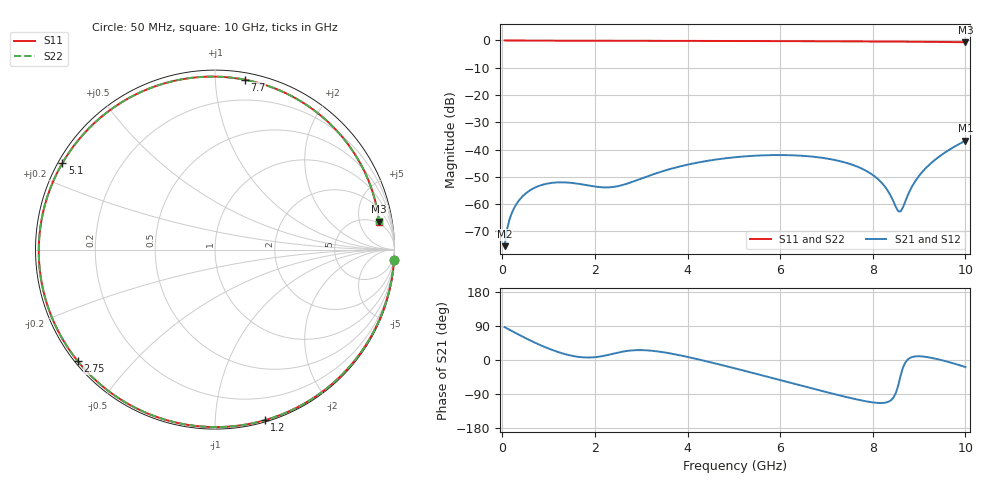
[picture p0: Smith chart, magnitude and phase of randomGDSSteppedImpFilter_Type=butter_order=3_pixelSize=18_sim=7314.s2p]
! freq	dB(S11)	phase(S11)	dB(S12)	phase(S12)
!  dB(S21)	phase(S21)	dB(S22)	phase(S22)
!S-par simulation data
#  GHz  S  DB  R 50
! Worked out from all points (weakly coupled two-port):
!   200 points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, 50 MHz to 10 GHz, reference 50 ohm
!   highest |S21| = -36.77 dB at 10 GHz (marker M1); lowest = -75.4 dB at 50 MHz (marker M2)
!   lowest |S11| = -0.7 dB at 10 GHz (marker M3), VSWR 26.59, Z = 222 + j493 ohm
!   |S11| at or under -10 dB: nowhere
!   |S22| runs from -0.7 to 0.0 dB; largest |S21 - S12| = 0
!   S11 on the Smith chart (normalised r, x): 50 MHz: 0, -34; 1.2 GHz: 0.01, -1.33; 2.75 GHz: 0.01, -0.36; 5.1 GHz: 0.01, +0.26; 7.7 GHz: 0.05, +1.19; 10 GHz: 4, +10
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0.05  -0.00 -3.3  -75.39 86.7  -75.39 86.7  -0.00 -3.3
0.1  -0.01 -6.7  -69.39 83.4  -69.39 83.4  -0.01 -6.7
0.15  -0.01 -10.0  -65.91 80.1  -65.91 80.1  -0.01 -10.0
0.4  -0.04 -26.2  -57.82 64.0  -57.82 64.0  -0.04 -26.2
0.75  -0.06 -48.1  -53.59 43.2  -53.59 43.2  -0.06 -48.0
1.2  -0.08 -73.8  -52.01 21.3  -52.01 21.3  -0.08 -73.8
1.75  -0.10 -101.1  -52.82 7.0  -52.82 7.0  -0.10 -101.0
2.3  -0.12 -124.3  -53.84 13.9  -53.84 13.9  -0.12 -124.2
2.75  -0.13 -140.8  -52.16 24.8  -52.16 24.8  -0.13 -140.8
3.4  -0.14 -162.0  -48.26 21.9  -48.26 21.9  -0.14 -162.0
4.2  -0.16 174.7  -44.81 2.6  -44.81 2.6  -0.16 174.7
5.05  -0.20 151.7  -42.76 -22.9  -42.76 -22.9  -0.20 151.8
5.1  -0.20 150.4  -42.68 -24.4  -42.68 -24.4  -0.20 150.5
6.7  -0.28 107.9  -42.59 -75.3  -42.59 -75.3  -0.28 108.0
7.7  -0.35 80.0  -46.48 -105.3  -46.48 -105.3  -0.34 80.2
8.1  -0.38 68.4  -50.63 -113.2  -50.63 -113.2  -0.38 68.6
8.35  -0.40 61.0  -55.80 -109.5  -55.80 -109.5  -0.40 61.2
8.55  -0.42 55.0  -62.60 -66.9  -62.60 -66.9  -0.42 55.2
8.6  -0.43 53.5  -62.68 -42.2  -62.68 -42.2  -0.43 53.6
8.85  -0.46 45.9  -53.48 7.9  -53.48 7.9  -0.46 46.0
9.1  -0.49 38.1  -47.60 8.9  -47.60 8.9  -0.49 38.3
10  -0.65 9.7  -36.77 -18.6  -36.77 -18.6  -0.65 9.9
